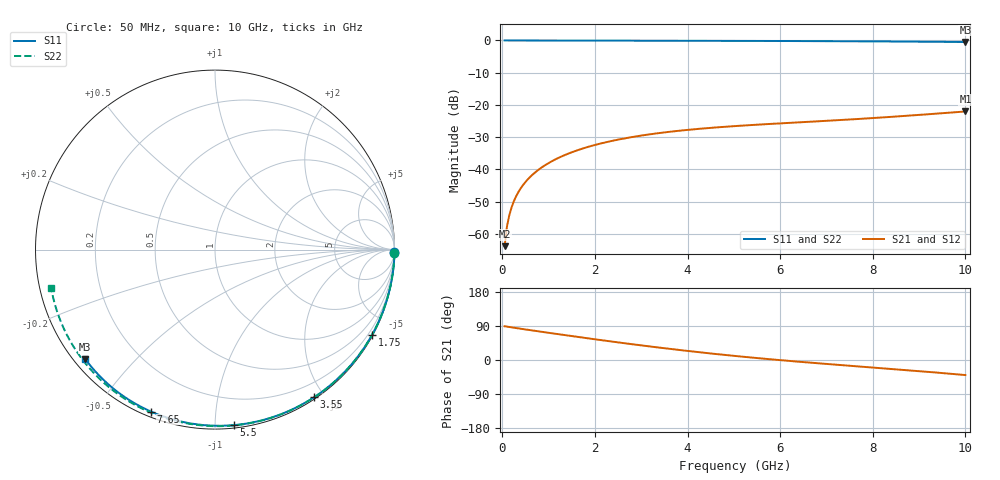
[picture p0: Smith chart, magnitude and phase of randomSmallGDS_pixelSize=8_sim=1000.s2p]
! freq	dB(S11)	phase(S11)	dB(S12)	phase(S12)
!  dB(S21)	phase(S21)	dB(S22)	phase(S22)
!S-par simulation data
#  GHz  S  DB  R 50
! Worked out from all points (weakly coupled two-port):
!   200 points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, 50 MHz to 10 GHz, reference 50 ohm
!   highest |S21| = -22.02 dB at 10 GHz (marker M1); lowest = -63.8 dB at 50 MHz (marker M2)
!   lowest |S11| = -0.5 dB at 10 GHz (marker M3), VSWR 35.85, Z = 1.58 - j18.3 ohm
!   |S11| at or under -10 dB: nowhere
!   |S22| runs from -0.6 to 0.0 dB; largest |S21 - S12| = 0
!   S11 on the Smith chart (normalised r, x): 50 MHz: open; 1.75 GHz: 0.04, -3.95; 3.55 GHz: 0.02, -1.88; 5.5 GHz: 0.02, -1.12; 7.65 GHz: 0.02, -0.68; 10 GHz: 0.03, -0.37
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0.05  -0.00 -0.8  -63.80 89.0  -63.80 89.0  -0.00 -1.0
0.1  -0.00 -1.7  -57.78 88.0  -57.78 88.0  -0.00 -2.0
0.15  -0.00 -2.5  -54.27 87.1  -54.27 87.1  -0.00 -3.0
0.2  -0.00 -3.3  -51.78 86.1  -51.78 86.1  -0.00 -3.9
0.25  -0.00 -4.1  -49.85 85.2  -49.85 85.2  -0.00 -4.9
0.35  -0.00 -5.8  -46.95 83.3  -46.95 83.3  -0.01 -6.9
0.5  -0.01 -8.2  -43.90 80.6  -43.90 80.6  -0.01 -9.8
0.7  -0.01 -11.5  -41.03 77.0  -41.03 77.0  -0.02 -13.7
1  -0.02 -16.4  -38.02 71.8  -38.02 71.8  -0.02 -19.6
1.35  -0.03 -22.0  -35.53 65.7  -35.53 65.7  -0.03 -26.3
1.75  -0.04 -28.4  -33.45 58.9  -33.45 58.9  -0.04 -33.9
2.6  -0.06 -41.7  -30.48 44.9  -30.48 44.9  -0.07 -49.6
3.4  -0.08 -53.9  -28.69 32.5  -28.69 32.5  -0.09 -63.9
3.55  -0.08 -56.1  -28.43 30.3  -28.43 30.3  -0.09 -66.5
4.3  -0.10 -67.1  -27.34 19.9  -27.34 19.9  -0.12 -79.3
5.05  -0.13 -77.6  -26.53 10.4  -26.53 10.4  -0.15 -91.6
5.5  -0.14 -83.8  -26.12 5.1  -26.12 5.1  -0.17 -98.8
6.7  -0.20 -99.6  -25.16 -7.5  -25.16 -7.5  -0.23 -117.3
7.65  -0.26 -111.5  -24.38 -16.5  -24.38 -16.5  -0.30 -131.5
8.35  -0.32 -120.1  -23.74 -23.1  -23.74 -23.1  -0.37 -141.8
9.2  -0.40 -130.3  -22.88 -31.4  -22.88 -31.4  -0.46 -154.5
10  -0.48 -139.8  -22.02 -39.7  -22.02 -39.7  -0.56 -166.6
